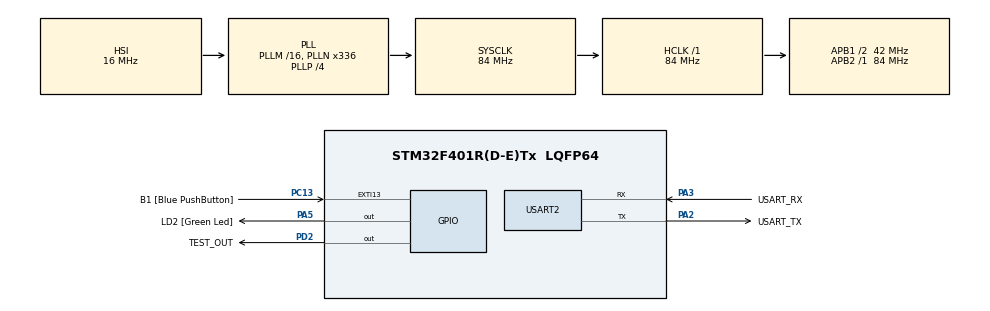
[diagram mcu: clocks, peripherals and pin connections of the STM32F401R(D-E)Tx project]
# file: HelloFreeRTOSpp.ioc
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FREERTOS.Tasks01=defaultTask,24,128,StartDefaultTask,Default,NULL,Dynamic,NULL,NULL;blinkTask,8,128,startBlinkTask,Default,NULL,Dynamic,NULL,NULL
FREERTOS.Timers01=blinkTimer,blinkTimerCbk,osTimerPeriodic,Default,NULL,Dynamic,NULL
FREERTOS.configUSE_NEWLIB_REENTRANT=1
FREERTOS.configUSE_PREEMPTION=0
Mcu.Family=STM32F4
Mcu.Name=STM32F401R(D-E)Tx
Mcu.Package=LQFP64
NVIC.PriorityGroup=NVIC_PRIORITYGROUP_4
NVIC.TIM1_UP_TIM10_IRQn=true\:15\:0\:false\:false\:true\:false\:false\:true
NVIC.TimeBase=TIM1_UP_TIM10_IRQn
NVIC.TimeBaseIP=TIM1
PA13.GPIO_Label=TMS
PA13.Mode=Serial_Wire
PA13.Signal=SYS_JTMS-SWDIO
PA14.GPIO_Label=TCK
PA14.Mode=Serial_Wire
PA14.Signal=SYS_JTCK-SWCLK
PA2.GPIO_Label=USART_TX
PA2.GPIO_Mode=GPIO_MODE_AF_PP
PA2.GPIO_PuPd=GPIO_NOPULL
PA2.GPIO_Speed=GPIO_SPEED_FREQ_LOW
PA2.Mode=Asynchronous
PA2.Signal=USART2_TX
PA3.GPIO_Label=USART_RX
PA3.GPIO_Mode=GPIO_MODE_AF_PP
PA3.GPIO_PuPd=GPIO_NOPULL
PA3.GPIO_Speed=GPIO_SPEED_FREQ_LOW
PA3.Mode=Asynchronous
PA3.Signal=USART2_RX
PA5.GPIO_Label=LD2 [Green Led]
PA5.GPIO_Mode=GPIO_MODE_OUTPUT_PP
PA5.GPIO_PuPd=GPIO_NOPULL
PA5.GPIO_Speed=GPIO_SPEED_FREQ_LOW
PA5.Signal=GPIO_Output
PB3.GPIO_Label=SWO
PB3.Signal=SYS_JTDO-SWO
PC13-ANTI_TAMP.GPIO_Label=B1 [Blue PushButton]
PC13-ANTI_TAMP.GPIO_ModeDefaultEXTI=GPIO_MODE_IT_FALLING
PC13-ANTI_TAMP.GPIO_PuPd=GPIO_NOPULL
PC13-ANTI_TAMP.Signal=GPXTI13
PC14-OSC32_IN.Mode=LSE-External-Oscillator
PC14-OSC32_IN.Signal=RCC_OSC32_IN
PC15-OSC32_OUT.Mode=LSE-External-Oscillator
PC15-OSC32_OUT.Signal=RCC_OSC32_OUT
PD2.GPIO_Label=TEST_OUT
PD2.Signal=GPIO_Output
PH0\ -\ OSC_IN.Mode=HSE-External-Clock-Source
PH0\ -\ OSC_IN.Signal=RCC_OSC_IN
PH1\ -\ OSC_OUT.Mode=HSE-External-Clock-Source
PH1\ -\ OSC_OUT.Signal=RCC_OSC_OUT
ProjectManager.HeapSize=0x200
ProjectManager.StackSize=0x400
ProjectManager.TargetToolchain=STM32CubeIDE
RCC.48MHZClocksFreq_Value=48000000
RCC.AHBFreq_Value=84000000
RCC.APB1CLKDivider=RCC_HCLK_DIV2
RCC.APB1Freq_Value=42000000
RCC.APB1TimFreq_Value=84000000
RCC.APB2Freq_Value=84000000
RCC.APB2TimFreq_Value=84000000
RCC.CortexFreq_Value=84000000
RCC.HCLKFreq_Value=84000000
RCC.HSE_VALUE=8000000
RCC.HSI_VALUE=16000000
RCC.PLLN=336
RCC.PLLP=RCC_PLLP_DIV4
RCC.PLLQ=7
RCC.SYSCLKFreq_VALUE=84000000
RCC.SYSCLKSource=RCC_SYSCLKSOURCE_PLLCLK
RCC.VCOOutputFreq_Value=336000000
USART2.VirtualMode=VM_ASYNC
VP_FREERTOS_VS_CMSIS_V2.Mode=CMSIS_V2
VP_SYS_VS_tim1.Mode=TIM1
board=NUCLEO-F401RE

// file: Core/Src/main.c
/* USER CODE BEGIN Header */
/**
  ******************************************************************************
  * @file           : main.c
  * @brief          : Main program body
  ******************************************************************************
  * @attention
  *
  * <h2><center>&copy; Copyright (c) 2021 STMicroelectronics.
  * All rights reserved.</center></h2>
  *
  * This software component is licensed by ST under BSD 3-Clause license,
  * the "License"; You may not use this file except in compliance with the
  * License. You may obtain a copy of the License at:
  *                        opensource.org/licenses/BSD-3-Clause
  *
  ******************************************************************************
  */
/* USER CODE END Header */
#include "main.h"
#include "cmsis_os.h"

/* USER CODE BEGIN Includes */
#include "blink.h"
#include "stdio.h"
/* USER CODE END Includes */

UART_HandleTypeDef huart2;

/* Definitions for defaultTask */
osThreadId_t defaultTaskHandle;
const osThreadAttr_t defaultTask_attributes = {
  .name = "defaultTask",
  .stack_size = 128 * 4,
  .priority = (osPriority_t) osPriorityNormal,
};
/* Definitions for blinkTask */
osThreadId_t blinkTaskHandle;
const osThreadAttr_t blinkTask_attributes = {
  .name = "blinkTask",
  .stack_size = 128 * 4,
  .priority = (osPriority_t) osPriorityLow,
};
/* Definitions for blinkTimer */
osTimerId_t blinkTimerHandle;
const osTimerAttr_t blinkTimer_attributes = {
  .name = "blinkTimer"
};

void SystemClock_Config(void);
static void MX_GPIO_Init(void);
static void MX_USART2_UART_Init(void);
void StartDefaultTask(void *argument);
void startBlinkTask(void *argument);
void blinkTimerCbk(void *argument);

/* USER CODE BEGIN PFP */
int __io_putchar(int ch);
void blinkTask(void *argument);
/* USER CODE END PFP */

int main(void)
{

  /* MCU Configuration--------------------------------------------------------*/

  /* Reset of all peripherals, Initializes the Flash interface and the Systick. */
  HAL_Init();

  /* Configure the system clock */
  SystemClock_Config();

  /* Initialize all configured peripherals */
  MX_GPIO_Init();
  MX_USART2_UART_Init();

  /* Init scheduler */
  osKernelInitialize();

  /* Create the timer(s) */
  /* creation of blinkTimer */
  blinkTimerHandle = osTimerNew(blinkTimerCbk, osTimerPeriodic, NULL, &blinkTimer_attributes);

  /* Create the thread(s) */
  /* creation of defaultTask */
  defaultTaskHandle = osThreadNew(StartDefaultTask, NULL, &defaultTask_attributes);

  /* creation of blinkTask */
  blinkTaskHandle = osThreadNew(startBlinkTask, NULL, &blinkTask_attributes);

  /* Start scheduler */
  osKernelStart();

  /* We should never get here as control is now taken by the scheduler */
  /* Infinite loop */
  while (1)
  {

  }
}

void SystemClock_Config(void)
{
  RCC_OscInitTypeDef RCC_OscInitStruct = {0};
  RCC_ClkInitTypeDef RCC_ClkInitStruct = {0};

  /** Configure the main internal regulator output voltage
  */
  __HAL_RCC_PWR_CLK_ENABLE();
  __HAL_PWR_VOLTAGESCALING_CONFIG(PWR_REGULATOR_VOLTAGE_SCALE2);
  /** Initializes the RCC Oscillators according to the specified parameters
  * in the RCC_OscInitTypeDef structure.
  */
  RCC_OscInitStruct.OscillatorType = RCC_OSCILLATORTYPE_HSI;
  RCC_OscInitStruct.HSIState = RCC_HSI_ON;
  RCC_OscInitStruct.HSICalibrationValue = RCC_HSICALIBRATION_DEFAULT;
  RCC_OscInitStruct.PLL.PLLState = RCC_PLL_ON;
  RCC_OscInitStruct.PLL.PLLSource = RCC_PLLSOURCE_HSI;
  RCC_OscInitStruct.PLL.PLLM = 16;
  RCC_OscInitStruct.PLL.PLLN = 336;
  RCC_OscInitStruct.PLL.PLLP = RCC_PLLP_DIV4;
  RCC_OscInitStruct.PLL.PLLQ = 7;
  if (HAL_RCC_OscConfig(&RCC_OscInitStruct) != HAL_OK)
  {
    Error_Handler();
  }
  /** Initializes the CPU, AHB and APB buses clocks
  */
  RCC_ClkInitStruct.ClockType = RCC_CLOCKTYPE_HCLK|RCC_CLOCKTYPE_SYSCLK
                              |RCC_CLOCKTYPE_PCLK1|RCC_CLOCKTYPE_PCLK2;
  RCC_ClkInitStruct.SYSCLKSource = RCC_SYSCLKSOURCE_PLLCLK;
  RCC_ClkInitStruct.AHBCLKDivider = RCC_SYSCLK_DIV1;
  RCC_ClkInitStruct.APB1CLKDivider = RCC_HCLK_DIV2;
  RCC_ClkInitStruct.APB2CLKDivider = RCC_HCLK_DIV1;

  if (HAL_RCC_ClockConfig(&RCC_ClkInitStruct, FLASH_LATENCY_2) != HAL_OK)
  {
    Error_Handler();
  }
}

static void MX_USART2_UART_Init(void)
{

  huart2.Instance = USART2;
  huart2.Init.BaudRate = 115200;
  huart2.Init.WordLength = UART_WORDLENGTH_8B;
  huart2.Init.StopBits = UART_STOPBITS_1;
  huart2.Init.Parity = UART_PARITY_NONE;
  huart2.Init.Mode = UART_MODE_TX_RX;
  huart2.Init.HwFlowCtl = UART_HWCONTROL_NONE;
  huart2.Init.OverSampling = UART_OVERSAMPLING_16;
  if (HAL_UART_Init(&huart2) != HAL_OK)
  {
    Error_Handler();
  }

}

static void MX_GPIO_Init(void)
{
  GPIO_InitTypeDef GPIO_InitStruct = {0};

  /* GPIO Ports Clock Enable */
  __HAL_RCC_GPIOC_CLK_ENABLE();
  __HAL_RCC_GPIOH_CLK_ENABLE();
  __HAL_RCC_GPIOA_CLK_ENABLE();
  __HAL_RCC_GPIOD_CLK_ENABLE();
  __HAL_RCC_GPIOB_CLK_ENABLE();

  /*Configure GPIO pin Output Level */
  HAL_GPIO_WritePin(LD2_GPIO_Port, LD2_Pin, GPIO_PIN_RESET);

  /*Configure GPIO pin Output Level */
  HAL_GPIO_WritePin(TEST_OUT_GPIO_Port, TEST_OUT_Pin, GPIO_PIN_RESET);

  /*Configure GPIO pin : B1_Pin */
  GPIO_InitStruct.Pin = B1_Pin;
  GPIO_InitStruct.Mode = GPIO_MODE_IT_FALLING;
  GPIO_InitStruct.Pull = GPIO_NOPULL;
  HAL_GPIO_Init(B1_GPIO_Port, &GPIO_InitStruct);

  /*Configure GPIO pin : LD2_Pin */
  GPIO_InitStruct.Pin = LD2_Pin;
  GPIO_InitStruct.Mode = GPIO_MODE_OUTPUT_PP;
  GPIO_InitStruct.Pull = GPIO_NOPULL;
  GPIO_InitStruct.Speed = GPIO_SPEED_FREQ_LOW;
  HAL_GPIO_Init(LD2_GPIO_Port, &GPIO_InitStruct);

  /*Configure GPIO pin : TEST_OUT_Pin */
  GPIO_InitStruct.Pin = TEST_OUT_Pin;
  GPIO_InitStruct.Mode = GPIO_MODE_OUTPUT_PP;
  GPIO_InitStruct.Pull = GPIO_NOPULL;
  GPIO_InitStruct.Speed = GPIO_SPEED_FREQ_LOW;
  HAL_GPIO_Init(TEST_OUT_GPIO_Port, &GPIO_InitStruct);

}

/* USER CODE BEGIN 4 */
int __io_putchar(int ch)
{
	return HAL_UART_Transmit(&huart2, (uint8_t*)&ch, 1, 1000);
}
/* USER CODE END 4 */

void StartDefaultTask(void *argument)
{
  /* USER CODE BEGIN 5 */
	printf("\r\nHello FreeRTOS test!\r\n");
	osTimerStart(blinkTimerHandle, 500U);
	/* Infinite loop */
	for(;;)
	{
		if(HAL_GPIO_ReadPin(B1_GPIO_Port, B1_Pin) == 0)	//pushbutton pressed
		{
			osTimerStart(blinkTimerHandle, 100U);
			osDelay(50);
			while(HAL_GPIO_ReadPin(B1_GPIO_Port, B1_Pin) == 0)
			{
				osDelay(10);
			}
			osTimerStart(blinkTimerHandle, 500U);
			osDelay(50);
		}
		osDelay(10);
	}
  /* USER CODE END 5 */
}

void startBlinkTask(void *argument)
{
  /* USER CODE BEGIN startBlinkTask */
	blinkTask(argument);
  /* USER CODE END startBlinkTask */
}

/* blinkTimerCbk function */
void blinkTimerCbk(void *argument)
{
  /* USER CODE BEGIN blinkTimerCbk */
	HAL_GPIO_TogglePin(LD2_GPIO_Port, LD2_Pin);
  /* USER CODE END blinkTimerCbk */
}

void HAL_TIM_PeriodElapsedCallback(TIM_HandleTypeDef *htim)
{
  if (htim->Instance == TIM1) {
    HAL_IncTick();
  }
}

void Error_Handler(void)
{
  __disable_irq();
  while (1)
  {
  }
}

/************************ (C) COPYRIGHT STMicroelectronics *****END OF FILE****/
